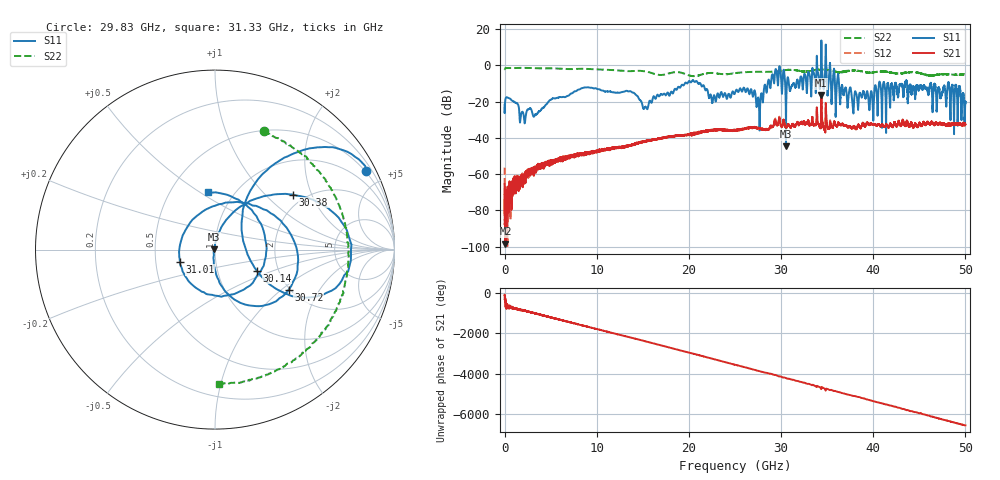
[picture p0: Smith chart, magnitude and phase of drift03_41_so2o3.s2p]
!Created with skrf (http://scikit-rf.org).
# Hz S RI R 50.0
!freq ReS11 ImS11 ReS21 ImS21 ReS12 ImS12 ReS22 ImS22
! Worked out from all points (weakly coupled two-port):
!   10001 points, 300 kHz to 50 GHz, reference 50 ohm
!   highest |S21| = -16.41 dB at 34.37 GHz (marker M1); lowest = -98.4 dB at 95.3 MHz (marker M2)
!   lowest |S11| = -44.7 dB at 30.53 GHz (marker M3), VSWR 1.01, Z = 49.5 + j0.254 ohm
!   |S11| at or under -10 dB: start of sweep to 19.55 GHz; 21.25 GHz to 28.55 GHz (7.296 GHz wide, 29.3 % of centre); 36.28 GHz to 40.62 GHz (4.337 GHz wide, 11.3 % of centre) (the widest 3 of 37)
!   |S22| runs from -5.9 to -1.3 dB; largest |S21 - S12| = 0.029
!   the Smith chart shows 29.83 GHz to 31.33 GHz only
!   S11 on the Smith chart (normalised r, x): 29.83 GHz: 0.43, +4.04; 30.14 GHz: 1.55, -0.39; 30.38 GHz: 1.73, +1.48; 30.72 GHz: 1.96, -1.12; 31.01 GHz: 0.67, -0.10; 31.33 GHz: 0.76, +0.54
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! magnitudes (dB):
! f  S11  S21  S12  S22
! 300 kHz  -21.7  -65.4  -56.4  -2.0
! 95.3 MHz  -18.5  -98.4  -83.5  -1.5
! 3.3 GHz  -27.2  -58.4  -57.3  -1.5
! 8.335 GHz  -12.6  -48.5  -48.8  -1.9
! 15.28 GHz  -22.8  -41.9  -41.8  -3.3
! 16.67 GHz  -16.5  -40.4  -40.5  -5.2
! 20.26 GHz  -9.2  -37.5  -37.5  -5.8
! 22.71 GHz  -16.4  -35.5  -35.8  -4.2
! 25 GHz  -15.2  -35.8  -35.9  -4.3
! 27.53 GHz  -17.8  -34.6  -34.5  -3.5
! 29.83 GHz  -0.4  -29.3  -28.4  -2.9
! 30.14 GHz  -11.7  -33.1  -33.3  -2.8
! 30.38 GHz  -5.5  -31.9  -32.5  -2.6
! 30.53 GHz  -44.7  -34.2  -34.2  -2.5
! 30.72 GHz  -6.6  -32.8  -32.8  -2.5
! 31.01 GHz  -13.7  -34.0  -34.2  -2.4
! 31.33 GHz  -9.9  -32.4  -32.3  -2.5
! 33.34 GHz  -7.4  -31.3  -31.4  -2.9
! 34.37 GHz  13.8  -16.4  -17.8  -2.3
! 37.86 GHz  -26.1  -33.6  -34.2  -2.8
! 41.67 GHz  -11.5  -34.5  -34.1  -3.7
! 50 GHz  -19.8  -32.7  -32.9  -5.0
